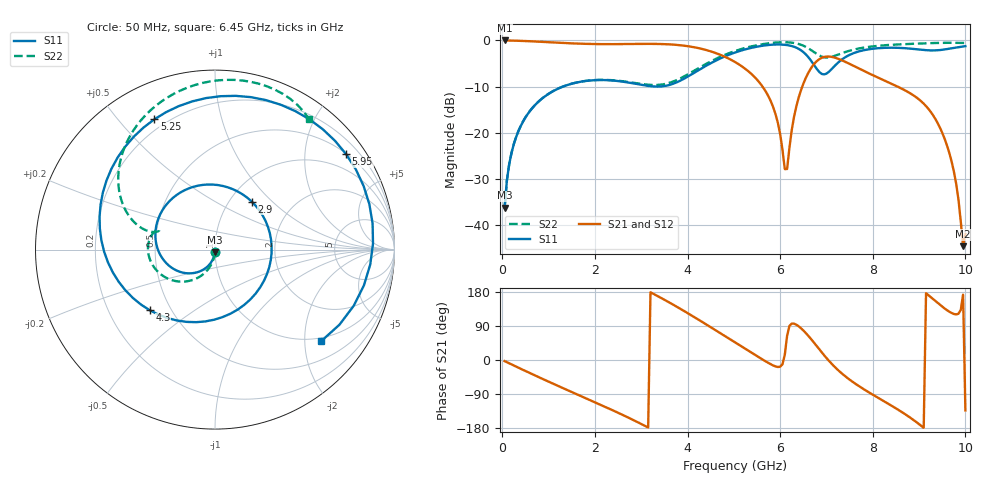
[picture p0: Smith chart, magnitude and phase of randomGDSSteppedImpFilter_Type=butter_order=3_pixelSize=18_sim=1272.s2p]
! freq	dB(S11)	phase(S11)	dB(S12)	phase(S12)
!  dB(S21)	phase(S21)	dB(S22)	phase(S22)
!S-par simulation data
#  GHz  S  DB  R 50
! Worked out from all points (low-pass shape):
!   200 points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, 50 MHz to 10 GHz, reference 50 ohm
!   highest |S21| = -0.01 dB at 50 MHz (marker M1); lowest = -44.6 dB at 9.95 GHz (marker M2)
!   |S21| within 3 dB of the highest: start of sweep to 4.679 GHz
!   lowest |S11| = -36.3 dB at 50 MHz (marker M3), VSWR 1.03, Z = 49.9 - j1.52 ohm
!   |S11| at or under -10 dB: start of sweep to 1.314 GHz; 3.294 GHz to 3.395 GHz (101.2 MHz wide, 3.03 % of centre)
!   |S22| runs from -36.3 to -0.4 dB; largest |S21 - S12| = 0
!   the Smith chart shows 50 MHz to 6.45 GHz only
!   S11 on the Smith chart (normalised r, x): 50 MHz: 1.00, -0.03; 2.9 GHz: 1.26, +0.76; 4.3 GHz: 0.38, -0.34; 5.25 GHz: 0.15, +0.63; 5.95 GHz: 0.52, +3.00; 6.45 GHz: 0.91, -2.39
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0.05  -36.30 -93.2  -0.01 -2.9  -0.01 -2.9  -36.32 -92.3
0.2  -24.36 -103.8  -0.04 -11.7  -0.04 -11.7  -24.33 -99.9
0.5  -16.72 -124.4  -0.13 -29.0  -0.13 -29.0  -16.67 -114.6
1.75  -8.87 150.8  -0.73 -98.0  -0.73 -98.0  -8.85 -167.8
2.9  -9.45 52.7  -0.76 -162.6  -0.76 -162.6  -9.29 161.8
3.4  -10.00 -10.6  -0.77 165.7  -0.77 165.7  -9.62 161.8
4.3  -6.08 -137.1  -1.82 101.7  -1.82 101.7  -5.65 158.1
5.05  -2.54 136.6  -4.83 44.6  -4.83 44.6  -2.22 129.3
5.25  -1.93 115.0  -6.19 29.3  -6.19 29.3  -1.62 119.8
5.95  -0.88 36.0  -17.86 -18.5  -17.86 -18.5  -0.43 83.6
6.15  -1.01 9.4  -27.90 63.7  -27.90 63.7  -0.40 72.2
6.45  -2.14 -40.7  -10.79 83.8  -10.79 83.8  -0.94 54.5
6.7  -4.86 -102.1  -5.53 50.5  -5.53 50.5  -2.31 42.7
6.95  -7.37 165.9  -3.59 12.4  -3.59 12.4  -3.66 41.7
7.3  -4.40 66.5  -4.17 -32.1  -4.17 -32.1  -2.90 41.4
7.8  -2.14 -3.1  -6.58 -76.7  -6.58 -76.7  -1.57 25.0
8.35  -1.58 -60.9  -9.15 -116.6  -9.15 -116.6  -0.98 4.3
8.8  -1.77 -115.6  -11.42 -151.4  -11.42 -151.4  -0.76 -11.9
9.2  -2.15 176.9  -14.83 171.1  -14.83 171.1  -0.61 -25.9
9.55  -1.96 107.2  -21.29 136.0  -21.29 136.0  -0.52 -38.3
9.95  -1.32 43.0  -44.63 172.4  -44.63 172.4  -0.55 -52.2
10  -1.25 36.8  -41.99 -133.1  -41.99 -133.1  -0.56 -53.9
